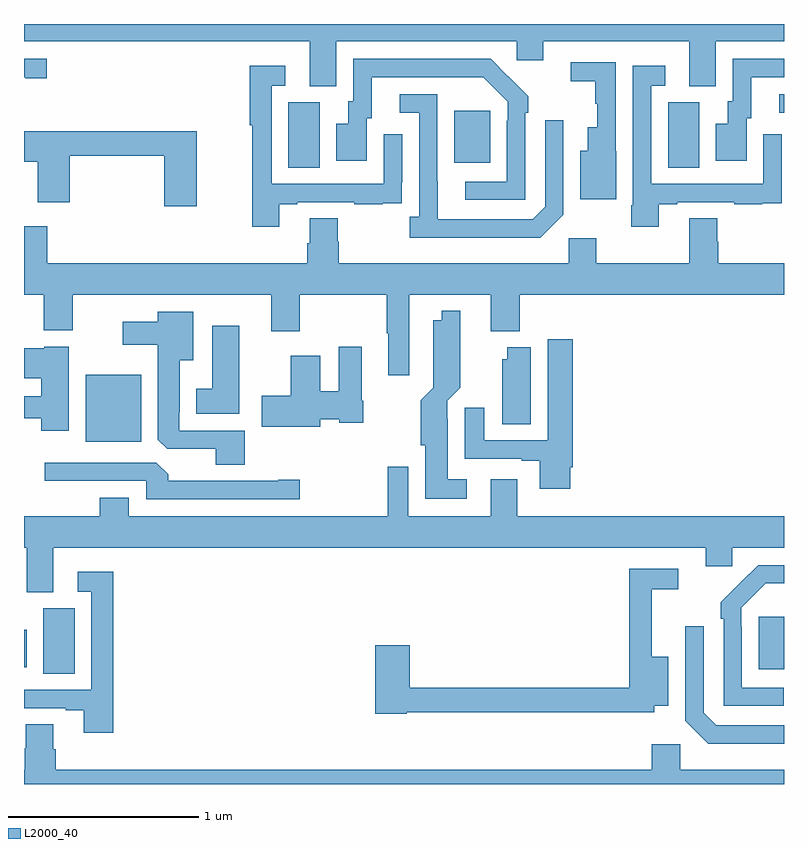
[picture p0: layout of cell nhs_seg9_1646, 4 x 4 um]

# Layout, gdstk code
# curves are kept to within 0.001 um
import gdstk
lib = gdstk.Library(unit=1e-6, precision=1e-09)
def R(c, l, rs):  # rectangles x0, y0, x1, y1
    for r in rs: c.add(gdstk.rectangle(r[:2], r[2:], *l))
def P(c, l, *ps):  # polygons
    for p in ps: c.add(gdstk.Polygon(p, *l))
L2000_40 = (2000, 40)

nhs_seg9_1646 = lib.new_cell('nhs_seg9_1646')
R(nhs_seg9_1646, L2000_40, [(203.102,1205.08,203.266,1205.424), (206.867,1205.105,207,1205.38), (203,1205.115,203.014,1205.311), (203.324,1206.302,203.617,1206.655), (204.392,1207.744,204.556,1208.088), (206.39,1207.744,206.554,1208.088), (205.265,1207.769,205.453,1208.044), (206.976,1208.034,207,1208.13)])
P(nhs_seg9_1646, L2000_40, [(206.501,1208.173),(206.641,1208.173),(206.641,1208.408),(207,1208.408),(207,1208.5),(203,1208.5),(203,1208.408),(204.503,1208.408),(204.503,1208.173),(204.643,1208.173),(204.643,1208.408),(205.593,1208.408),(205.593,1208.31),(205.732,1208.31),(205.732,1208.408),(206.501,1208.408)],
  [(205.638,1208.033),(205.653,1208.033),(205.653,1208.121),(205.456,1208.316),(204.732,1208.316),(204.732,1208.094),(204.707,1208.094),(204.707,1207.975),(204.644,1207.975),(204.644,1207.779),(204.805,1207.779),(204.805,1208.004),(204.829,1208.004),(204.829,1208.22),(205.417,1208.22),(205.545,1208.091),(205.545,1207.991),(205.542,1207.991),(205.542,1207.671),(205.323,1207.671),(205.323,1207.575),(205.638,1207.575)],
  [(206.803,1208.004),(206.827,1208.004),(206.827,1208.22),(207,1208.22),(207,1208.316),(206.73,1208.316),(206.73,1208.094),(206.705,1208.094),(206.705,1207.975),(206.642,1207.975),(206.642,1207.779),(206.803,1207.779)],
  [(203.119,1208.316),(203,1208.316),(203,1208.22),(203.006,1208.22),(203.006,1208.215),(203.119,1208.215)],
  [(206.116,1207.83),(206.115,1207.83),(206.115,1208.298),(205.878,1208.298),(205.878,1208.2),(206.007,1208.2),(206.007,1208.079),(206.018,1208.079),(206.018,1207.957),(205.967,1207.957),(205.967,1207.834),(205.928,1207.834),(205.928,1207.577),(206.116,1207.577)],
  [(204.343,1207.551),(204.439,1207.551),(204.439,1207.563),(204.739,1207.563),(204.739,1207.551),(204.887,1207.551),(204.887,1207.557),(204.989,1207.557),(204.989,1207.666),(204.99,1207.666),(204.99,1207.921),(204.894,1207.921),(204.894,1207.659),(204.303,1207.659),(204.303,1208.175),(204.376,1208.175),(204.376,1208.281),(204.187,1208.281),(204.187,1207.968),(204.202,1207.968),(204.202,1207.434),(204.343,1207.434)],
  [(206.341,1207.551),(206.437,1207.551),(206.437,1207.563),(206.737,1207.563),(206.737,1207.551),(206.885,1207.551),(206.885,1207.557),(206.987,1207.557),(206.987,1207.666),(206.988,1207.666),(206.988,1207.921),(206.892,1207.921),(206.892,1207.659),(206.301,1207.659),(206.301,1208.175),(206.374,1208.175),(206.374,1208.281),(206.205,1208.281),(206.205,1207.546),(206.197,1207.546),(206.197,1207.434),(206.341,1207.434)],
  [(205.839,1207.497),(205.839,1207.993),(205.743,1207.993),(205.743,1207.539),(205.677,1207.473),(205.177,1207.473),(205.176,1208.13),(204.978,1208.13),(204.978,1208.034),(205.08,1208.034),(205.08,1207.486),(205.029,1207.486),(205.029,1207.376),(205.718,1207.376)],
  [(203.908,1207.936),(203,1207.936),(203,1207.774),(203.072,1207.774),(203.072,1207.563),(203.24,1207.563),(203.24,1207.807),(203.738,1207.807),(203.738,1207.542),(203.908,1207.542)],
  [(205.027,1207.076),(205.457,1207.076),(205.457,1206.884),(205.61,1206.884),(205.61,1207.076),(207,1207.076),(207,1207.24),(206.654,1207.24),(206.654,1207.353),(206.649,1207.353),(206.649,1207.478),(206.501,1207.478),(206.501,1207.24),(206.013,1207.24),(206.013,1207.372),(205.866,1207.372),(205.866,1207.24),(204.656,1207.24),(204.656,1207.353),(204.651,1207.353),(204.651,1207.478),(204.503,1207.478),(204.503,1207.346),(204.491,1207.346),(204.491,1207.24),(203.123,1207.24),(203.123,1207.435),(203,1207.435),(203,1207.076),(203.105,1207.076),(203.105,1206.887),(203.257,1206.887),(203.257,1207.076),(204.302,1207.076),(204.302,1206.882),(204.45,1206.882),(204.45,1207.076),(204.91,1207.076),(204.91,1206.872),(204.917,1206.872),(204.917,1206.651),(205.027,1206.651)],
  [(205.33,1206.103),(205.231,1206.103),(205.231,1206.422),(205.227,1206.422),(205.227,1206.516),(205.297,1206.586),(205.296,1206.991),(205.199,1206.991),(205.199,1206.94),(205.154,1206.94),(205.154,1206.586),(205.087,1206.519),(205.087,1206.282),(205.112,1206.282),(205.112,1206.002),(205.33,1206.002)],
  [(204.161,1206.36),(203.817,1206.36),(203.817,1206.457),(203.821,1206.457),(203.821,1206.731),(203.89,1206.731),(203.89,1206.985),(203.705,1206.985),(203.705,1206.934),(203.52,1206.934),(203.52,1206.812),(203.705,1206.812),(203.705,1206.313),(203.754,1206.264),(204.008,1206.264),(204.008,1206.181),(204.161,1206.181)],
  [(204.133,1206.913),(203.99,1206.913),(203.99,1206.58),(203.906,1206.58),(203.906,1206.449),(204.133,1206.449)],
  [(205.876,1206.166),(205.889,1206.166),(205.889,1206.841),(205.757,1206.841),(205.757,1206.309),(205.423,1206.309),(205.423,1206.481),(205.319,1206.481),(205.319,1206.213),(205.619,1206.213),(205.619,1206.201),(205.715,1206.201),(205.715,1206.054),(205.876,1206.054)],
  [(204.559,1206.419),(204.66,1206.419),(204.66,1206.401),(204.786,1206.401),(204.786,1206.517),(204.778,1206.517),(204.778,1206.802),(204.656,1206.802),(204.656,1206.566),(204.559,1206.566),(204.559,1206.754),(204.404,1206.754),(204.404,1206.543),(204.252,1206.543),(204.252,1206.38),(204.559,1206.38)],
  [(203.236,1206.802),(203.106,1206.802),(203.106,1206.793),(203,1206.793),(203,1206.635),(203.09,1206.635),(203.09,1206.54),(203,1206.54),(203,1206.424),(203.09,1206.424),(203.09,1206.36),(203.236,1206.36)],
  [(205.666,1206.799),(205.544,1206.799),(205.544,1206.735),(205.517,1206.735),(205.517,1206.394),(205.666,1206.394)],
  [(204.451,1206.101),(204.338,1206.101),(204.338,1206.096),(203.759,1206.096),(203.759,1206.13),(203.697,1206.192),(203.109,1206.192),(203.109,1206.096),(203.643,1206.096),(203.643,1206),(204.451,1206)],
  [(203.155,1205.744),(206.588,1205.744),(206.588,1205.646),(206.727,1205.646),(206.727,1205.744),(207,1205.744),(207,1205.908),(205.597,1205.908),(205.597,1206.103),(205.457,1206.103),(205.457,1205.908),(205.023,1205.908),(205.023,1206.169),(204.915,1206.169),(204.915,1205.908),(203.551,1205.908),(203.551,1206.007),(203.399,1206.007),(203.399,1205.908),(203,1205.908),(203,1205.744),(203.015,1205.744),(203.015,1205.509),(203.155,1205.509)],
  [(206.998,1205.007),(206.778,1205.007),(206.778,1205.327),(206.775,1205.327),(206.775,1205.427),(206.904,1205.556),(207,1205.556),(207,1205.652),(206.864,1205.652),(206.667,1205.457),(206.667,1205.369),(206.682,1205.369),(206.682,1204.911),(206.998,1204.911)],
  [(205.014,1204.878),(206.316,1204.878),(206.316,1204.913),(206.392,1204.913),(206.392,1205.17),(206.303,1205.17),(206.303,1205.526),(206.443,1205.526),(206.443,1205.634),(206.185,1205.634),(206.185,1205.006),(205.031,1205.006),(205.031,1205.23),(204.848,1205.23),(204.848,1204.87),(205.014,1204.87)],
  [(203.471,1205.617),(203.283,1205.617),(203.283,1205.511),(203.355,1205.511),(203.355,1204.995),(203,1204.995),(203,1204.899),(203.219,1204.899),(203.219,1204.887),(203.315,1204.887),(203.315,1204.77),(203.471,1204.77)],
  [(207,1204.809),(206.643,1204.809),(206.577,1204.875),(206.577,1205.329),(206.481,1205.329),(206.481,1204.833),(206.602,1204.712),(207,1204.712)],
  [(207,1204.576),(206.454,1204.576),(206.454,1204.708),(206.303,1204.708),(206.303,1204.576),(203.168,1204.576),(203.168,1204.682),(203.155,1204.682),(203.155,1204.814),(203.008,1204.814),(203.008,1204.689),(203.003,1204.689),(203.003,1204.576),(203,1204.576),(203,1204.5),(207,1204.5)])

lib.write_gds('nhs_seg9_1646.gds')
